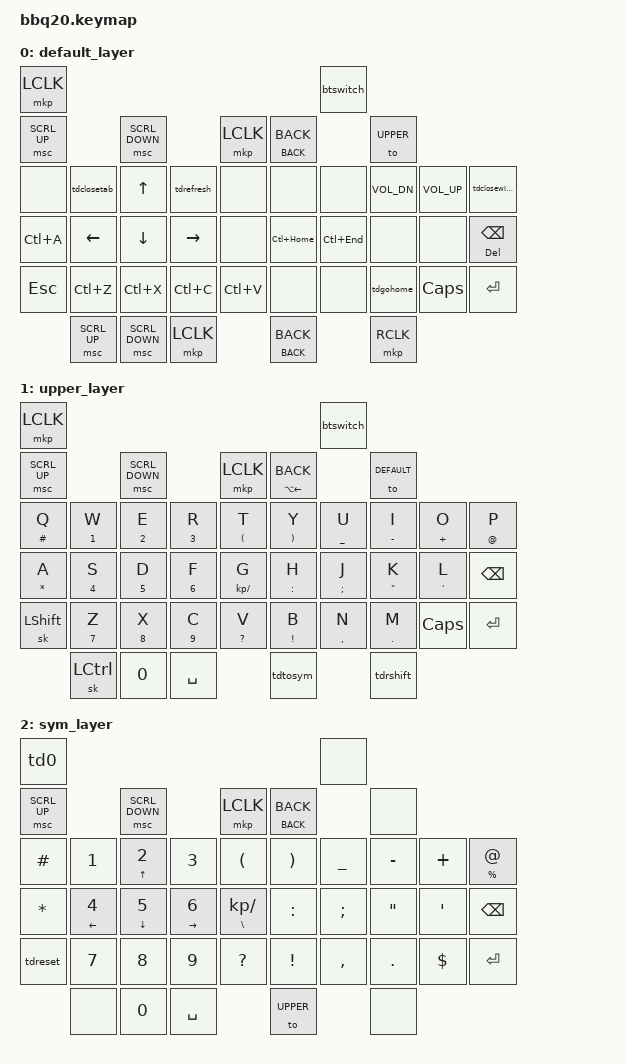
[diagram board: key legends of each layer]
  /*
 * Copyright (c) 2023 ZitaoTech
 *
 * SPDX-License-Identifier: MIT
 */

#include <behaviors.dtsi>
#include <dt-bindings/zmk/keys.h>
#include <dt-bindings/zmk/bt.h>
#include <dt-bindings/zmk/outputs.h>
#include <dt-bindings/zmk/mouse.h>
#include <dt-bindings/zmk/backlight.h>
#include <dt-bindings/zmk/ext_power.h>


#define DEFAULT 0
#define UPPER 1
#define SYM 2

&sk {
       release-after-ms = <2500>;
   };

/ {
   //单击层1字符，长按层2字符
    behaviors {
        bhm: balanced_homerow_mods {
            compatible = "zmk,behavior-hold-tap";
            #binding-cells = <2>;
            flavor = "balanced";
            tapping-term-ms = <400>;
            bindings = <&kp>, <&kp>;
        };
    };

   //切换蓝牙设备
    behaviors {
        btswitch: tap_dance_btswitch {
            compatible = "zmk,behavior-tap-dance";
            #binding-cells = <0>;
            tapping-term-ms = <400>;
            bindings = <&tobt0>, <&tobt1>;
        };
    };

    macros {
        //切换设备1
        tobt0: zed_em_tobt0 {
            compatible = "zmk,behavior-macro";
            #binding-cells = <0>;
            bindings = <&macro_tap &bt BT_SEL 0>,<&macro_tap &kp ENTER &kp N0 &kp N9 &kp N1 &kp N1 &kp ENTER>,<&macro_tap &to DEFAULT>;
        };

        //切换设备2
        tobt1: zed_em_tobt1 {
            compatible = "zmk,behavior-macro";
            #binding-cells = <0>;
            bindings = <&macro_tap &bt BT_SEL 1>,<&macro_tap &to DEFAULT>;
        }; 

        //回到桌面
        todesktop: zed_em_todesktop {
            compatible = "zmk,behavior-macro";
            #binding-cells = <0>;
            bindings = <&macro_press &kp LGUI>,<&macro_tap &kp ENTER>,<&macro_release &kp LGUI>;
        }; 

  };

   //单击PC切换输入法，双击RShift
    behaviors {
        tdrshift: tap_dance_rshift {
            compatible = "zmk,behavior-tap-dance";
            #binding-cells = <0>;
            tapping-term-ms = <400>;
            bindings =<&kp LG(SPACE)>, <&kp RSHFT>;
        };
    };

    behaviors {
        td0: tap_dance_0 {
            compatible = "zmk,behavior-tap-dance";
            #binding-cells = <0>;
            tapping-term-ms = <400>;
            bindings = <&none>, <&bt BT_CLR>;
        };
    };

   //双击关闭程序
    behaviors {
        tdclosewindow: tap_dance_closewindow {
            compatible = "zmk,behavior-tap-dance";
            #binding-cells = <0>;
            tapping-term-ms = <400>;
            bindings =<&none>, <&kp LA(F4)>;
        };
    };

   //双击回到桌面
    behaviors {
        tdgohome: tap_dance_gohome {
            compatible = "zmk,behavior-tap-dance";
            #binding-cells = <0>;
            tapping-term-ms = <400>;
            bindings =<&kp LG(D)>, <&todesktop>;
        };
    };

   //双击关闭浏览器标签页
    behaviors {
        tdclosetab: tap_dance_closetab { 
            compatible = "zmk,behavior-tap-dance";
            #binding-cells = <0>;
            tapping-term-ms = <400>;
            bindings =<&kp W>, <&kp LC(W)>;
        };
    };

   //双击浏览器刷新    
    behaviors {
        tdrefresh: tap_dance_refresh { 
            compatible = "zmk,behavior-tap-dance";
            #binding-cells = <0>;
            tapping-term-ms = <400>;
            bindings =<&none>, <&kp LC(R)>;
        };
    };

   //快速双击软重启
    behaviors {
        tdreset: tap_dance_reset {
            compatible = "zmk,behavior-tap-dance";
            #binding-cells = <0>;
            tapping-term-ms = <300>;
            bindings = <&none>, <&sys_reset>;
        };
    };

    //单击临时sym层，双击进入sym层
    behaviors {
        tdtosym: tap_dance_tosym {
            compatible = "zmk,behavior-tap-dance";
            #binding-cells = <0>;
            tapping-term-ms = <400>;
            bindings = <&sl SYM>, <&to SYM>;
        };
    };

    keymap {
        compatible = "zmk,keymap";

        default_layer {

            bindings = <
// -----------------------------------------------------------------------------------------------------------------------------------------------         
//         |    Shoulder Key1    |                                                                             |    Shoulder Key2    |     
// |         Call key      |      Blackberry Key        |    Trackpad    |             Back Key                |             Endcall Key          |
// |     Q      |     W    |     E    |     R    |      T      |       Y        |       U        |        I        |       O      |      P        |     
// |     A      |     S    |     D    |     F    |      G      |       H        |       J        |        K        |       L      |      ←        |  
// |     alt    |     Z    |     X    |     C    |      V      |       B        |       N        |        M        |       $      |    Enter      |   
//        |         aA     |         0           |           SPACE              |         SYM         |        aA          |       
// -----------------------------------------------------------------------------------------------------------------------------------------------

        &mkp LCLK                                                                                                 &btswitch
        &msc SCRL_UP                   &msc SCRL_DOWN             &mkp LCLK              &mt K_BACK K_BACK                            &to UPPER
    &none              &tdclosetab      &kp UP          &tdrefresh        &none         &none              &none              &kp C_VOL_DN        &kp C_VOL_UP      &tdclosewindow
    &kp LC(A)          &kp LEFT         &kp DOWN        &kp RIGHT         &none         &kp LC(HOME)       &kp LC(END)        &none               &none             &bhm DEL BSPC
    &kp ESC            &kp LC(Z)        &kp LC(X)       &kp LC(C)         &kp LC(V)     &none              &none              &tdgohome           &kp CLCK          &kp ENTER
                  &msc SCRL_UP     &msc SCRL_DOWN            &mkp LCLK                       &mt K_BACK K_BACK             &mkp RCLK
            >;
        };

        upper_layer {

            bindings = <
                 &mkp LCLK                                                                                              &btswitch
        &msc SCRL_UP                   &msc SCRL_DOWN             &mkp LCLK              &mt LA(LEFT) K_BACK                            &to DEFAULT
    &bhm HASH Q          &bhm N1 W    &bhm N2 E    &bhm N3 R    &bhm LPAR T           &bhm RPAR Y      &bhm UNDER U        &bhm MINUS I    &bhm PLUS O        &bhm AT P
    &bhm STAR A          &bhm N4 S    &bhm N5 D    &bhm N6 F    &bhm KP_DIVIDE G      &bhm COLON H     &bhm SEMICOLON J    &bhm DQT K      &bhm APOS L        &kp BSPC
    &sk LSHFT            &bhm N7 Z    &bhm N8 X    &bhm N9 C    &bhm QMARK V          &bhm EXCL B      &bhm COMMA N        &bhm DOT M      &kp CLCK           &kp ENTER
                 &sk LCTRL        &kp N0                   &kp SPACE                     &tdtosym             &tdrshift
            >;
        };

        sym_layer {

            bindings = <        
        &td0                                                                                                    &none
        &msc SCRL_UP                   &msc SCRL_DOWN             &mkp LCLK              &mt K_BACK K_BACK                            &none
    &kp HASH       &kp N1           &bhm UP N2        &kp N3           &kp LPAR               &kp RPAR           &kp UNDER       &kp MINUS      &kp PLUS       &bhm PRCNT AT
    &kp STAR       &bhm LEFT N4     &bhm DOWN N5      &bhm RIGHT N6    &bhm BSLH KP_DIVIDE    &kp COLON          &kp SEMICOLON   &kp DQT        &kp APOS       &kp BSPC
    &tdreset       &kp N7           &kp N8            &kp N9           &kp QMARK              &kp EXCL           &kp COMMA       &kp DOT        &kp DLLR       &kp ENTER
           &none          &kp N0                    &kp SPACE                     &to UPPER               &none
            >;
        };

    };
}; 
